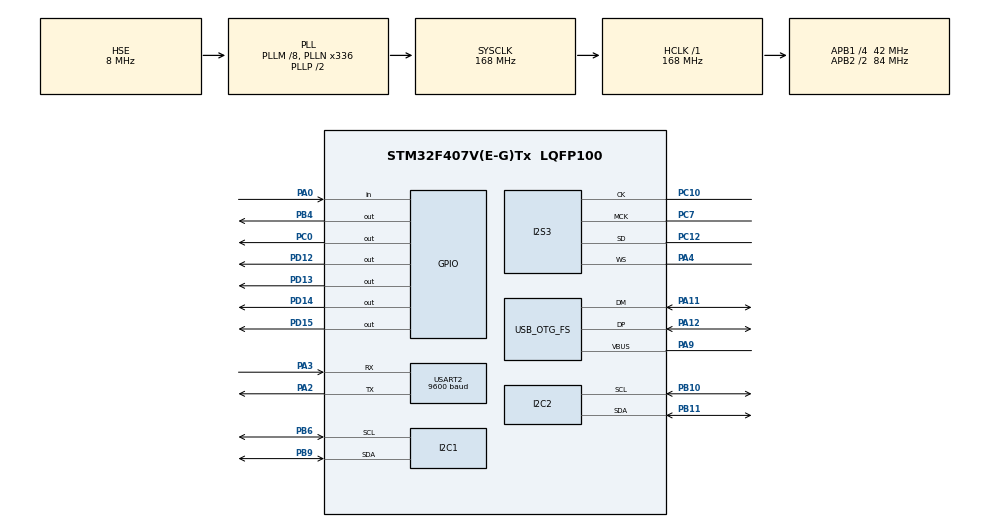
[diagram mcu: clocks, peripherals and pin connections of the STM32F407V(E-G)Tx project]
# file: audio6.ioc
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Dma.Request0=SPI3_TX
Dma.SPI3_TX.0.Direction=DMA_MEMORY_TO_PERIPH
Dma.SPI3_TX.0.FIFOMode=DMA_FIFOMODE_ENABLE
Dma.SPI3_TX.0.FIFOThreshold=DMA_FIFO_THRESHOLD_FULL
Dma.SPI3_TX.0.Instance=DMA1_Stream5
Dma.SPI3_TX.0.MemBurst=DMA_MBURST_SINGLE
Dma.SPI3_TX.0.MemDataAlignment=DMA_MDATAALIGN_HALFWORD
Dma.SPI3_TX.0.MemInc=DMA_MINC_ENABLE
Dma.SPI3_TX.0.Mode=DMA_CIRCULAR
Dma.SPI3_TX.0.PeriphBurst=DMA_PBURST_SINGLE
Dma.SPI3_TX.0.PeriphDataAlignment=DMA_PDATAALIGN_HALFWORD
Dma.SPI3_TX.0.PeriphInc=DMA_PINC_DISABLE
Dma.SPI3_TX.0.Priority=DMA_PRIORITY_LOW
I2S3.AudioFreq=I2S_AUDIOFREQ_44K
I2S3.ErrorAudioFreq=0.24 %
I2S3.FullDuplexMode=I2S_FULLDUPLEXMODE_DISABLE
I2S3.Instance=SPI$Index
I2S3.RealAudioFreq=44.108 KHz
I2S3.VirtualMode=I2S_MODE_MASTER
Mcu.Family=STM32F4
Mcu.Name=STM32F407V(E-G)Tx
Mcu.Package=LQFP100
NVIC.DMA1_Stream5_IRQn=true\:0\:0\:false\:false\:true\:false\:true\:true
NVIC.OTG_FS_IRQn=true\:0\:0\:false\:false\:true\:false\:true\:true
NVIC.PriorityGroup=NVIC_PRIORITYGROUP_0
NVIC.USART2_IRQn=true\:0\:0\:false\:false\:true\:true\:true\:true
PA0-WKUP.Signal=GPIO_Input
PA11.Mode=Host_Only
PA11.Signal=USB_OTG_FS_DM
PA12.Mode=Host_Only
PA12.Signal=USB_OTG_FS_DP
PA2.Mode=Asynchronous
PA2.Signal=USART2_TX
PA3.Mode=Asynchronous
PA3.Signal=USART2_RX
PA4.Mode=Half_Duplex_Master
PA4.Signal=I2S3_WS
PA9.Mode=Activate_VBUS
PA9.Signal=USB_OTG_FS_VBUS
PB10.Mode=I2C
PB10.Signal=I2C2_SCL
PB11.Mode=I2C
PB11.Signal=I2C2_SDA
PB4.Signal=GPIO_Output
PB6.Mode=I2C
PB6.Signal=I2C1_SCL
PB9.Mode=I2C
PB9.Signal=I2C1_SDA
PC0.Signal=GPIO_Output
PC10.Mode=Half_Duplex_Master
PC10.Signal=I2S3_CK
PC12.Mode=Half_Duplex_Master
PC12.Signal=I2S3_SD
PC7.Mode=Master_Clock_Activated
PC7.Signal=I2S3_MCK
PD12.Signal=GPIO_Output
PD13.Signal=GPIO_Output
PD14.Signal=GPIO_Output
PD15.Signal=GPIO_Output
PH0-OSC_IN.Mode=HSE-External-Oscillator
PH0-OSC_IN.Signal=RCC_OSC_IN
PH1-OSC_OUT.Mode=HSE-External-Oscillator
PH1-OSC_OUT.Signal=RCC_OSC_OUT
ProjectManager.HeapSize=0x2000
ProjectManager.StackSize=0x2000
ProjectManager.TargetToolchain=STM32CubeIDE
RCC.48MHZClocksFreq_Value=48000000
RCC.AHBFreq_Value=168000000
RCC.APB1CLKDivider=RCC_HCLK_DIV4
RCC.APB1Freq_Value=42000000
RCC.APB1TimFreq_Value=84000000
RCC.APB2CLKDivider=RCC_HCLK_DIV2
RCC.APB2Freq_Value=84000000
RCC.APB2TimFreq_Value=168000000
RCC.CortexFreq_Value=168000000
RCC.HCLKFreq_Value=168000000
RCC.HSE_VALUE=8000000
RCC.HSI_VALUE=16000000
RCC.LSE_VALUE=32768
RCC.PLLI2SN=271
RCC.PLLI2SR=6
RCC.PLLM=8
RCC.PLLN=336
RCC.PLLQ=7
RCC.SYSCLKFreq_VALUE=168000000
RCC.SYSCLKSource=RCC_SYSCLKSOURCE_PLLCLK
RCC.VCOOutputFreq_Value=336000000
USART2.BaudRate=9600
USART2.VirtualMode=VM_ASYNC
USB_HOST.USBH_HandleTypeDef-MSC_FS=hUsbHostFS
USB_HOST.VirtualModeFS=Msc
USB_OTG_FS.VirtualMode=Host_Only
USB_OTG_FS.phy_itface=HCD_PHY_EMBEDDED
VP_FATFS_VS_USB.Mode=USB
VP_USB_HOST_VS_USB_HOST_MSC_FS.Mode=MSC_FS
board=STM32F407G-DISC1

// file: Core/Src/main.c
/* USER CODE BEGIN Header */
/**
  ******************************************************************************
  * @file           : main.c
  * @brief          : Main program body
  ******************************************************************************
  * @attention
  *
  * <h2><center>&copy; Copyright (c) 2020 STMicroelectronics.
  * All rights reserved.</center></h2>
  *
  * This software component is licensed by ST under Ultimate Liberty license
  * SLA0044, the "License"; You may not use this file except in compliance with
  * the License. You may obtain a copy of the License at:
  *                             www.st.com/SLA0044
  *
  ******************************************************************************
  */
/* USER CODE END Header */
#include "main.h"
#include "fatfs.h"
#include "usb_host.h"

/* USER CODE BEGIN Includes */
#include "audioI2S.h"
#include "MY_CS43L22.h"
#include "wav_player.h"
#include "lcd_i2c.h"
#include <string.h>
/* USER CODE END Includes */

/* USER CODE BEGIN PTD */
extern ApplicationTypeDef Appli_state;
/* USER CODE END PTD */

I2C_HandleTypeDef hi2c1;
I2C_HandleTypeDef hi2c2;
I2S_HandleTypeDef hi2s3;
DMA_HandleTypeDef hdma_spi3_tx;

UART_HandleTypeDef huart2;

/* USER CODE BEGIN PV */
const char *songs[3] = {
    "c1.wav",
    "c2.wav",
    "c3.wav"
};
volatile uint8_t song_index = 0;
uint8_t last_button_state = 0;

uint8_t usbReady = 0;

char current_song[17] = "No Song";   // 16x2 LCD safe

/* Player state */
typedef enum {
    PLAYER_STOPPED,
    PLAYER_PLAYING,
    PLAYER_PAUSED
} PlayerState;

PlayerState playerState = PLAYER_STOPPED;

/* UART RX variables */
uint8_t rxByte;
char rxBuf[20];
uint8_t rxIndex = 0;
//command
volatile uint8_t cmd_play = 0;
volatile uint8_t cmd_pause = 0;
volatile uint8_t cmd_next = 0;
volatile uint8_t cmd_prev = 0;
volatile uint8_t cmd_volup = 0;
volatile uint8_t cmd_voldown = 0;

uint8_t volume = 180;

/* USER CODE END PV */

void SystemClock_Config(void);
static void MX_GPIO_Init(void);
static void MX_DMA_Init(void);
static void MX_I2C1_Init(void);
static void MX_I2S3_Init(void);
static void MX_USART2_UART_Init(void);
static void MX_I2C2_Init(void);
void MX_USB_HOST_Process(void);

/* USER CODE BEGIN PFP */
void Command_Handler(void);
void LCD_UpdateStatus(void);
/* USER CODE END PFP */

/* USER CODE BEGIN 0 */
/* Optional: LED indication for song switching */
void Update_LED_For_Song(uint8_t index)
{
    HAL_GPIO_WritePin(GPIOD, GPIO_PIN_12|GPIO_PIN_13|GPIO_PIN_14, GPIO_PIN_RESET);

    if(index == 0) HAL_GPIO_WritePin(GPIOD, GPIO_PIN_12, GPIO_PIN_SET); // song1
    else if(index == 1) HAL_GPIO_WritePin(GPIOD, GPIO_PIN_13, GPIO_PIN_SET); // song2
    else if(index == 2) HAL_GPIO_WritePin(GPIOD, GPIO_PIN_14, GPIO_PIN_SET); // song3
}

void UART_SendString(const char *str)
{
    HAL_UART_Transmit(&huart2, (uint8_t *)str, strlen(str), HAL_MAX_DELAY);
}

/* USER CODE END 0 */

int main(void)
{

  /* MCU Configuration--------------------------------------------------------*/

  /* Reset of all peripherals, Initializes the Flash interface and the Systick. */
  HAL_Init();

  /* Configure the system clock */
  SystemClock_Config();

  /* Initialize all configured peripherals */
  MX_GPIO_Init();
  MX_DMA_Init();
  MX_I2C1_Init();
  MX_I2S3_Init();
  MX_FATFS_Init();
  MX_USB_HOST_Init();
  MX_USART2_UART_Init();
  MX_I2C2_Init();
  LCD_Init(&hi2c2);
  LCD_TaskInit();
  LCD_SetLine1("STM32 Audio");
  LCD_SetLine2("Ready");

  /* USER CODE BEGIN 2 */
  HAL_UART_Receive_IT(&huart2, &rxByte, 1);
  CS43_Init(hi2c1, MODE_I2S);
  CS43_SetVolume(180);//0-255
  CS43_Enable_RightLeft(CS43_RIGHT_LEFT);

  audioI2S_setHandle(&hi2s3);

  /* USER CODE END 2 */

  /* Infinite loop */
  /* USER CODE BEGIN WHILE */
  while (1)
  {
      MX_USB_HOST_Process();
      wavPlayer_process();
      Command_Handler();

      LCD_Task();   // ✅ ADD THIS (non-blocking LCD engine)

      if(Appli_state == APPLICATION_START)
      {
          HAL_GPIO_WritePin(GPIOD, GPIO_PIN_12, GPIO_PIN_SET);
      }
      else if(Appli_state == APPLICATION_DISCONNECT)
      {
          HAL_GPIO_WritePin(GPIOD, GPIO_PIN_12, GPIO_PIN_RESET);
          f_mount(NULL, (TCHAR const*)"", 0);
      }

      if (Appli_state == APPLICATION_READY && !usbReady)
      {
          FRESULT res = f_mount(&USBHFatFS, (const TCHAR*)USBHPath, 1);
          if (res == FR_OK)
          {
              usbReady = 1;
              UART_SendString("USB MOUNT OK\n");
              Update_LED_For_Song(song_index);

              LCD_SetLine2("USB Ready");   // optional
          }
          else
          {
              UART_SendString("USB MOUNT FAIL\n");
              LCD_SetLine2("USB Error");
          }
      }
  }

  /* USER CODE END 3 */
}

void SystemClock_Config(void)
{
  RCC_OscInitTypeDef RCC_OscInitStruct = {0};
  RCC_ClkInitTypeDef RCC_ClkInitStruct = {0};

  /** Configure the main internal regulator output voltage
  */
  __HAL_RCC_PWR_CLK_ENABLE();
  __HAL_PWR_VOLTAGESCALING_CONFIG(PWR_REGULATOR_VOLTAGE_SCALE1);

  /** Initializes the RCC Oscillators according to the specified parameters
  * in the RCC_OscInitTypeDef structure.
  */
  RCC_OscInitStruct.OscillatorType = RCC_OSCILLATORTYPE_HSE;
  RCC_OscInitStruct.HSEState = RCC_HSE_ON;
  RCC_OscInitStruct.PLL.PLLState = RCC_PLL_ON;
  RCC_OscInitStruct.PLL.PLLSource = RCC_PLLSOURCE_HSE;
  RCC_OscInitStruct.PLL.PLLM = 8;
  RCC_OscInitStruct.PLL.PLLN = 336;
  RCC_OscInitStruct.PLL.PLLP = RCC_PLLP_DIV2;
  RCC_OscInitStruct.PLL.PLLQ = 7;
  if (HAL_RCC_OscConfig(&RCC_OscInitStruct) != HAL_OK)
  {
    Error_Handler();
  }

  /** Initializes the CPU, AHB and APB buses clocks
  */
  RCC_ClkInitStruct.ClockType = RCC_CLOCKTYPE_HCLK|RCC_CLOCKTYPE_SYSCLK
                              |RCC_CLOCKTYPE_PCLK1|RCC_CLOCKTYPE_PCLK2;
  RCC_ClkInitStruct.SYSCLKSource = RCC_SYSCLKSOURCE_PLLCLK;
  RCC_ClkInitStruct.AHBCLKDivider = RCC_SYSCLK_DIV1;
  RCC_ClkInitStruct.APB1CLKDivider = RCC_HCLK_DIV4;
  RCC_ClkInitStruct.APB2CLKDivider = RCC_HCLK_DIV2;

  if (HAL_RCC_ClockConfig(&RCC_ClkInitStruct, FLASH_LATENCY_5) != HAL_OK)
  {
    Error_Handler();
  }
}

static void MX_I2C1_Init(void)
{

  hi2c1.Instance = I2C1;
  hi2c1.Init.ClockSpeed = 100000;
  hi2c1.Init.DutyCycle = I2C_DUTYCYCLE_2;
  hi2c1.Init.OwnAddress1 = 0;
  hi2c1.Init.AddressingMode = I2C_ADDRESSINGMODE_7BIT;
  hi2c1.Init.DualAddressMode = I2C_DUALADDRESS_DISABLE;
  hi2c1.Init.OwnAddress2 = 0;
  hi2c1.Init.GeneralCallMode = I2C_GENERALCALL_DISABLE;
  hi2c1.Init.NoStretchMode = I2C_NOSTRETCH_DISABLE;
  if (HAL_I2C_Init(&hi2c1) != HAL_OK)
  {
    Error_Handler();
  }

}

static void MX_I2C2_Init(void)
{

  hi2c2.Instance = I2C2;
  hi2c2.Init.ClockSpeed = 100000;
  hi2c2.Init.DutyCycle = I2C_DUTYCYCLE_2;
  hi2c2.Init.OwnAddress1 = 0;
  hi2c2.Init.AddressingMode = I2C_ADDRESSINGMODE_7BIT;
  hi2c2.Init.DualAddressMode = I2C_DUALADDRESS_DISABLE;
  hi2c2.Init.OwnAddress2 = 0;
  hi2c2.Init.GeneralCallMode = I2C_GENERALCALL_DISABLE;
  hi2c2.Init.NoStretchMode = I2C_NOSTRETCH_DISABLE;
  if (HAL_I2C_Init(&hi2c2) != HAL_OK)
  {
    Error_Handler();
  }

}

static void MX_I2S3_Init(void)
{

  hi2s3.Instance = SPI3;
  hi2s3.Init.Mode = I2S_MODE_MASTER_TX;
  hi2s3.Init.Standard = I2S_STANDARD_PHILIPS;
  hi2s3.Init.DataFormat = I2S_DATAFORMAT_16B;
  hi2s3.Init.MCLKOutput = I2S_MCLKOUTPUT_ENABLE;
  hi2s3.Init.AudioFreq = I2S_AUDIOFREQ_44K;
  hi2s3.Init.CPOL = I2S_CPOL_LOW;
  hi2s3.Init.ClockSource = I2S_CLOCK_PLL;
  hi2s3.Init.FullDuplexMode = I2S_FULLDUPLEXMODE_DISABLE;
  if (HAL_I2S_Init(&hi2s3) != HAL_OK)
  {
    Error_Handler();
  }

}

static void MX_USART2_UART_Init(void)
{

  huart2.Instance = USART2;
  huart2.Init.BaudRate = 9600;
  huart2.Init.WordLength = UART_WORDLENGTH_8B;
  huart2.Init.StopBits = UART_STOPBITS_1;
  huart2.Init.Parity = UART_PARITY_NONE;
  huart2.Init.Mode = UART_MODE_TX_RX;
  huart2.Init.HwFlowCtl = UART_HWCONTROL_NONE;
  huart2.Init.OverSampling = UART_OVERSAMPLING_16;
  if (HAL_UART_Init(&huart2) != HAL_OK)
  {
    Error_Handler();
  }

}

static void MX_DMA_Init(void)
{

  /* DMA controller clock enable */
  __HAL_RCC_DMA1_CLK_ENABLE();

  /* DMA interrupt init */
  /* DMA1_Stream5_IRQn interrupt configuration */
  HAL_NVIC_SetPriority(DMA1_Stream5_IRQn, 0, 0);
  HAL_NVIC_EnableIRQ(DMA1_Stream5_IRQn);

}

static void MX_GPIO_Init(void)
{
  GPIO_InitTypeDef GPIO_InitStruct = {0};

  /* GPIO Ports Clock Enable */
  __HAL_RCC_GPIOH_CLK_ENABLE();
  __HAL_RCC_GPIOC_CLK_ENABLE();
  __HAL_RCC_GPIOA_CLK_ENABLE();
  __HAL_RCC_GPIOB_CLK_ENABLE();
  __HAL_RCC_GPIOD_CLK_ENABLE();

  /*Configure GPIO pin Output Level */
  HAL_GPIO_WritePin(GPIOC, GPIO_PIN_0, GPIO_PIN_RESET);

  /*Configure GPIO pin Output Level */
  HAL_GPIO_WritePin(GPIOD, GPIO_PIN_12|GPIO_PIN_13|GPIO_PIN_14|GPIO_PIN_15, GPIO_PIN_RESET);

  /*Configure GPIO pin Output Level */
  HAL_GPIO_WritePin(GPIOB, GPIO_PIN_4, GPIO_PIN_RESET);

  /*Configure GPIO pin : PC0 */
  GPIO_InitStruct.Pin = GPIO_PIN_0;
  GPIO_InitStruct.Mode = GPIO_MODE_OUTPUT_PP;
  GPIO_InitStruct.Pull = GPIO_NOPULL;
  GPIO_InitStruct.Speed = GPIO_SPEED_FREQ_LOW;
  HAL_GPIO_Init(GPIOC, &GPIO_InitStruct);

  /*Configure GPIO pin : PA0 */
  GPIO_InitStruct.Pin = GPIO_PIN_0;
  GPIO_InitStruct.Mode = GPIO_MODE_INPUT;
  GPIO_InitStruct.Pull = GPIO_NOPULL;
  HAL_GPIO_Init(GPIOA, &GPIO_InitStruct);

  /*Configure GPIO pins : PD12 PD13 PD14 PD15 */
  GPIO_InitStruct.Pin = GPIO_PIN_12|GPIO_PIN_13|GPIO_PIN_14|GPIO_PIN_15;
  GPIO_InitStruct.Mode = GPIO_MODE_OUTPUT_PP;
  GPIO_InitStruct.Pull = GPIO_NOPULL;
  GPIO_InitStruct.Speed = GPIO_SPEED_FREQ_LOW;
  HAL_GPIO_Init(GPIOD, &GPIO_InitStruct);

  /*Configure GPIO pin : PB4 */
  GPIO_InitStruct.Pin = GPIO_PIN_4;
  GPIO_InitStruct.Mode = GPIO_MODE_OUTPUT_PP;
  GPIO_InitStruct.Pull = GPIO_NOPULL;
  GPIO_InitStruct.Speed = GPIO_SPEED_FREQ_LOW;
  HAL_GPIO_Init(GPIOB, &GPIO_InitStruct);

}

/* USER CODE BEGIN 4 */

void Command_Handler(void)
{
    if(cmd_play)
    {
        wavPlayer_fileSelect(songs[song_index]);
        strncpy(current_song, songs[song_index], 16);
        current_song[16] = '\0';

        wavPlayer_play();
        playerState = PLAYER_PLAYING;

        LCD_UpdateStatus();
        cmd_play = 0;
    }

    if(cmd_pause)
    {
        if(playerState == PLAYER_PLAYING)
        {
            wavPlayer_pause();
            playerState = PLAYER_PAUSED;
        }
        else if(playerState == PLAYER_PAUSED)
        {
            wavPlayer_resume();
            playerState = PLAYER_PLAYING;
        }

        LCD_UpdateStatus();
        cmd_pause = 0;
    }

    if(cmd_next)
    {
        wavPlayer_stop();

        song_index = (song_index + 1) % 3;
        wavPlayer_fileSelect(songs[song_index]);

        strncpy(current_song, songs[song_index], 16);
        current_song[16] = '\0';

        wavPlayer_play();
        playerState = PLAYER_PLAYING;

        Update_LED_For_Song(song_index);
        LCD_UpdateStatus();
        cmd_next = 0;
    }

    if(cmd_prev)
    {
        wavPlayer_stop();

        song_index = (song_index == 0) ? 2 : song_index - 1;
        wavPlayer_fileSelect(songs[song_index]);

        strncpy(current_song, songs[song_index], 16);
        current_song[16] = '\0';

        wavPlayer_play();
        playerState = PLAYER_PLAYING;

        Update_LED_For_Song(song_index);
        LCD_UpdateStatus();
        cmd_prev = 0;
    }

    if(cmd_volup)
    {
        if(volume < 245) volume += 10;
        CS43_SetVolume(volume);

        LCD_UpdateStatus();
        cmd_volup = 0;
    }

    if(cmd_voldown)
    {
        if(volume > 10) volume -= 10;
        CS43_SetVolume(volume);

        LCD_UpdateStatus();
        cmd_voldown = 0;
    }
}

void HAL_UART_RxCpltCallback(UART_HandleTypeDef *huart)
{
    if (huart->Instance == USART2)
    {
        if (rxByte == '\n' || rxByte == '\r')
        {
            rxBuf[rxIndex] = 0;

            if (!strcmp(rxBuf, "PLAY"))        cmd_play = 1;
            else if (!strcmp(rxBuf, "PAUSE"))  cmd_pause = 1;
            else if (!strcmp(rxBuf, "NEXT"))   cmd_next = 1;
            else if (!strcmp(rxBuf, "PREV"))   cmd_prev = 1;
            else if (!strcmp(rxBuf, "VOLUP"))  cmd_volup = 1;
            else if (!strcmp(rxBuf, "VOLDN"))  cmd_voldown = 1;

            rxIndex = 0;
            memset(rxBuf, 0, sizeof(rxBuf));
        }
        else if (rxIndex < sizeof(rxBuf) - 1)
        {
            rxBuf[rxIndex++] = rxByte;
        }

        HAL_UART_Receive_IT(&huart2, &rxByte, 1);
    }
}
void LCD_UpdateStatus(void)
{
    char line2[17];

    if (playerState == PLAYER_PLAYING)
        snprintf(line2, 17, "PLAY V:%03d", volume);
    else if (playerState == PLAYER_PAUSED)
        snprintf(line2, 17, "PAUSE V:%03d", volume);
    else
        snprintf(line2, 17, "STOP  V:%03d", volume);

    LCD_SetLine1(current_song);
    LCD_SetLine2(line2);
}

/* USER CODE END 4 */

void Error_Handler(void)
{
}
